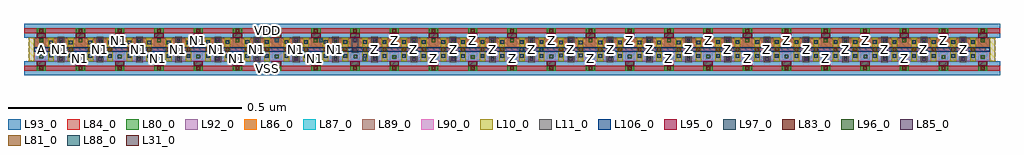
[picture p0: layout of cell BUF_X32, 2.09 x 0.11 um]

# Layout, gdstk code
import gdstk
lib = gdstk.Library(unit=1e-6, precision=1e-09)
def R(c, l, rs):  # rectangles x0, y0, x1, y1
    for r in rs: c.add(gdstk.rectangle(r[:2], r[2:], *l))
def A(c, l, x, y, w, h, nx, ny, dx, dy):  # array of equal rectangles
    R(c, l, [(x+i*dx, y+j*dy, x+i*dx+w, y+j*dy+h) for i in range(nx) for j in range(ny)])
L10_0 = (10, 0)
L11_0 = (11, 0)
L31_0 = (31, 0)
L80_0 = (80, 0)
L81_0 = (81, 0)
L83_0 = (83, 0)
L84_0 = (84, 0)
L85_0 = (85, 0)
L86_0 = (86, 0)
L87_0 = (87, 0)
L88_0 = (88, 0)
L89_0 = (89, 0)
L90_0 = (90, 0)
L92_0 = (92, 0)
L93_0 = (93, 0)
L95_0 = (95, 0)
L96_0 = (96, 0)
L97_0 = (97, 0)
L106_0 = (106, 0)

buf_x32 = lib.new_cell('BUF_X32')
A(buf_x32, L10_0, 0.208, -0.025, 0.012, 0.05, 50, 1, 0.042, 0)
A(buf_x32, L11_0, 0.27, -0.027, 0.014, 0.034, 24, 1, 0.084, 0)
A(buf_x32, L11_0, 0.27, -0.007, 0.014, 0.034, 8, 1, 0.084, 0)
A(buf_x32, L11_0, 0.942, -0.007, 0.014, 0.034, 16, 1, 0.084, 0)
R(buf_x32, L11_0, [(0.229,-0.007,0.243,0.007), (0.9,-0.007,0.914,0.027)])
A(buf_x32, L31_0, 0.273, -0.004, 0.008, 0.008, 24, 1, 0.084, 0)
R(buf_x32, L31_0, [(0.232,-0.004,0.24,0.004)])
A(buf_x32, L80_0, 0.225, -0.045, 0.02, 0.021, 25, 1, 0.084, 0)
A(buf_x32, L80_0, 0.225, -0.025, 0.02, 0.02, 49, 1, 0.042, 0)
A(buf_x32, L80_0, 0.225, 0.016, 0.02, 0.029, 25, 1, 0.084, 0)
R(buf_x32, L80_0, [(0.225,0.005,0.245,0.025), (0.225,0.005,0.245,0.025), (0.267,0.005,0.287,0.025), (0.267,0.005,0.287,0.025), (0.309,0.005,0.329,0.025), (0.309,0.005,0.329,0.025), (0.351,0.005,0.371,0.025), (0.351,0.005,0.371,0.025), (0.393,0.005,0.413,0.025), (0.393,0.005,0.413,0.025), (0.435,0.005,0.455,0.025), (0.435,0.005,0.455,0.025), (0.477,0.005,0.497,0.025), (0.477,0.005,0.497,0.025), (0.519,0.005,0.539,0.025), (0.519,0.005,0.539,0.025), (0.561,0.005,0.581,0.025), (0.561,0.005,0.581,0.025), (0.603,0.005,0.623,0.025), (0.603,0.005,0.623,0.025), (0.645,0.005,0.665,0.025), (0.645,0.005,0.665,0.025), (0.687,0.005,0.707,0.025), (0.687,0.005,0.707,0.025), (0.729,0.005,0.749,0.025), (0.729,0.005,0.749,0.025), (0.771,0.005,0.791,0.025), (0.771,0.005,0.791,0.025), (0.813,0.005,0.833,0.025), (0.813,0.005,0.833,0.025), (0.855,0.005,0.875,0.025), (0.855,0.005,0.875,0.025), (0.897,0.005,0.917,0.025), (0.897,0.005,0.917,0.025), (0.897,0.005,0.917,0.025), (0.897,0.005,0.917,0.025), (0.939,0.005,0.959,0.025), (0.939,0.005,0.959,0.025), (0.981,0.005,1.001,0.025), (0.981,0.005,1.001,0.025), (1.023,0.005,1.043,0.025), (1.023,0.005,1.043,0.025), (1.065,0.005,1.085,0.025), (1.065,0.005,1.085,0.025), (1.107,0.005,1.127,0.025), (1.107,0.005,1.127,0.025), (1.149,0.005,1.169,0.025), (1.149,0.005,1.169,0.025), (1.191,0.005,1.211,0.025), (1.191,0.005,1.211,0.025), (1.233,0.005,1.253,0.025), (1.233,0.005,1.253,0.025), (1.275,0.005,1.295,0.025), (1.275,0.005,1.295,0.025), (1.317,0.005,1.337,0.025), (1.317,0.005,1.337,0.025), (1.359,0.005,1.379,0.025), (1.359,0.005,1.379,0.025), (1.401,0.005,1.421,0.025), (1.401,0.005,1.421,0.025), (1.443,0.005,1.463,0.025), (1.443,0.005,1.463,0.025), (1.485,0.005,1.505,0.025), (1.485,0.005,1.505,0.025), (1.527,0.005,1.547,0.025), (1.527,0.005,1.547,0.025), (1.569,0.005,1.589,0.025), (1.569,0.005,1.589,0.025), (1.611,0.005,1.631,0.025), (1.611,0.005,1.631,0.025), (1.653,0.005,1.673,0.025), (1.653,0.005,1.673,0.025), (1.695,0.005,1.715,0.025), (1.695,0.005,1.715,0.025), (1.737,0.005,1.757,0.025), (1.737,0.005,1.757,0.025), (1.779,0.005,1.799,0.025), (1.779,0.005,1.799,0.025), (1.821,0.005,1.841,0.025), (1.821,0.005,1.841,0.025), (1.863,0.005,1.883,0.025), (1.863,0.005,1.883,0.025), (1.905,0.005,1.925,0.025), (1.905,0.005,1.925,0.025), (1.947,0.005,1.967,0.025), (1.947,0.005,1.967,0.025), (1.989,0.005,2.009,0.025), (1.989,0.005,2.009,0.025), (2.031,0.005,2.051,0.025), (2.031,0.005,2.051,0.025), (2.073,0.005,2.093,0.025), (2.073,0.005,2.093,0.025), (2.115,0.005,2.135,0.025), (2.115,0.005,2.135,0.025), (2.157,0.005,2.177,0.025), (2.157,0.005,2.177,0.025), (2.199,0.005,2.219,0.025), (2.199,0.005,2.219,0.025), (2.241,0.005,2.261,0.025), (2.241,0.005,2.261,0.025)])
A(buf_x32, L81_0, 0.252, -0.004, 0.008, 0.008, 24, 1, 0.042, 0)
A(buf_x32, L81_0, 1.344, -0.004, 0.008, 0.008, 22, 1, 0.042, 0)
R(buf_x32, L81_0, [(0.252,-0.004,0.26,0.004), (1.344,-0.004,1.352,0.004)])
A(buf_x32, L83_0, 0.231, -0.044, 0.008, 0.008, 25, 2, 0.084, 0.08)
A(buf_x32, L83_0, 0.273, -0.024, 0.008, 0.008, 24, 1, 0.084, 0)
R(buf_x32, L83_0, [(0.273,0.016,0.281,0.024), (0.273,0.016,0.281,0.024), (0.357,0.016,0.365,0.024), (0.357,0.016,0.365,0.024), (0.441,0.016,0.449,0.024), (0.441,0.016,0.449,0.024), (0.525,0.016,0.533,0.024), (0.525,0.016,0.533,0.024), (0.609,0.016,0.617,0.024), (0.609,0.016,0.617,0.024), (0.693,0.016,0.701,0.024), (0.693,0.016,0.701,0.024), (0.777,0.016,0.785,0.024), (0.777,0.016,0.785,0.024), (0.861,0.016,0.869,0.024), (0.861,0.016,0.869,0.024), (0.945,0.016,0.953,0.024), (0.945,0.016,0.953,0.024), (1.029,0.016,1.037,0.024), (1.029,0.016,1.037,0.024), (1.113,0.016,1.121,0.024), (1.113,0.016,1.121,0.024), (1.197,0.016,1.205,0.024), (1.197,0.016,1.205,0.024), (1.281,0.016,1.289,0.024), (1.281,0.016,1.289,0.024), (1.365,0.016,1.373,0.024), (1.365,0.016,1.373,0.024), (1.449,0.016,1.457,0.024), (1.449,0.016,1.457,0.024), (1.533,0.016,1.541,0.024), (1.533,0.016,1.541,0.024), (1.617,0.016,1.625,0.024), (1.617,0.016,1.625,0.024), (1.701,0.016,1.709,0.024), (1.701,0.016,1.709,0.024), (1.785,0.016,1.793,0.024), (1.785,0.016,1.793,0.024), (1.869,0.016,1.877,0.024), (1.869,0.016,1.877,0.024), (1.953,0.016,1.961,0.024), (1.953,0.016,1.961,0.024), (2.037,0.016,2.045,0.024), (2.037,0.016,2.045,0.024), (2.121,0.016,2.129,0.024), (2.121,0.016,2.129,0.024), (2.205,0.016,2.213,0.024), (2.205,0.016,2.213,0.024)])
A(buf_x32, L84_0, 0.271, -0.025, 0.031, 0.01, 4, 1, 0.021, 0)
A(buf_x32, L84_0, 0.44, -0.025, 0.031, 0.01, 4, 1, 0.021, 0)
A(buf_x32, L84_0, 0.608, -0.025, 0.031, 0.01, 4, 1, 0.021, 0)
A(buf_x32, L84_0, 0.776, -0.025, 0.031, 0.01, 4, 1, 0.021, 0)
A(buf_x32, L84_0, 1.028, -0.025, 0.031, 0.01, 4, 1, 0.021, 0)
A(buf_x32, L84_0, 1.196, -0.025, 0.031, 0.01, 4, 1, 0.021, 0)
A(buf_x32, L84_0, 1.196, -0.025, 0.01, 0.01, 4, 1, 0.084, 0)
A(buf_x32, L84_0, 1.364, -0.025, 0.031, 0.01, 4, 1, 0.021, 0)
A(buf_x32, L84_0, 1.7, -0.025, 0.031, 0.01, 4, 1, 0.021, 0)
A(buf_x32, L84_0, 1.868, -0.025, 0.031, 0.01, 4, 1, 0.021, 0)
A(buf_x32, L84_0, 2.036, -0.025, 0.031, 0.01, 4, 1, 0.021, 0)
A(buf_x32, L84_0, 0.251, -0.005, 0.031, 0.01, 30, 1, 0.021, 0)
A(buf_x32, L84_0, 0.902, -0.005, 0.031, 0.01, 20, 1, 0.021, 0)
A(buf_x32, L84_0, 1.343, -0.005, 0.031, 0.01, 43, 1, 0.021, 0)
A(buf_x32, L84_0, 0.356, 0.015, 0.031, 0.01, 4, 1, 0.021, 0)
A(buf_x32, L84_0, 0.524, 0.015, 0.031, 0.01, 4, 1, 0.021, 0)
A(buf_x32, L84_0, 0.692, 0.015, 0.031, 0.01, 4, 1, 0.021, 0)
A(buf_x32, L84_0, 0.944, 0.015, 0.031, 0.01, 4, 1, 0.021, 0)
A(buf_x32, L84_0, 1.112, 0.015, 0.031, 0.01, 4, 1, 0.021, 0)
A(buf_x32, L84_0, 1.28, 0.015, 0.031, 0.01, 4, 1, 0.021, 0)
A(buf_x32, L84_0, 1.448, 0.015, 0.031, 0.01, 4, 1, 0.021, 0)
A(buf_x32, L84_0, 1.616, 0.015, 0.031, 0.01, 4, 1, 0.021, 0)
A(buf_x32, L84_0, 1.784, 0.015, 0.031, 0.01, 4, 1, 0.021, 0)
A(buf_x32, L84_0, 1.952, 0.015, 0.031, 0.01, 4, 1, 0.021, 0)
A(buf_x32, L84_0, 2.12, 0.015, 0.031, 0.01, 4, 1, 0.021, 0)
R(buf_x32, L84_0, [(0.198,-0.045,2.288,-0.035), (0.272,-0.025,0.282,-0.015), (0.356,-0.025,0.366,-0.015), (0.608,-0.025,0.618,-0.015), (0.944,-0.025,0.954,-0.015), (1.532,-0.025,1.563,-0.015), (1.532,-0.025,1.563,-0.015), (1.553,-0.025,1.584,-0.015), (1.553,-0.025,1.584,-0.015), (1.574,-0.025,1.605,-0.015), (1.574,-0.025,1.605,-0.015), (1.595,-0.025,1.626,-0.015), (1.595,-0.025,1.626,-0.015), (1.7,-0.025,1.71,-0.015), (2.204,-0.025,2.214,-0.015), (0.227,-0.005,0.263,0.005), (1.319,-0.005,1.355,0.005), (0.272,0.015,0.282,0.025), (0.86,0.015,0.891,0.025), (0.881,0.015,0.912,0.025), (1.364,0.015,1.374,0.025), (0.198,0.035,2.288,0.045)])
A(buf_x32, L85_0, 0.273, -0.024, 0.008, 0.008, 24, 1, 0.084, 0)
A(buf_x32, L85_0, 0.273, 0.016, 0.008, 0.008, 8, 1, 0.084, 0)
A(buf_x32, L85_0, 0.945, 0.016, 0.008, 0.008, 16, 1, 0.084, 0)
R(buf_x32, L85_0, [(0.232,-0.004,0.24,0.004), (0.903,-0.004,0.911,0.004), (0.903,0.016,0.911,0.024)])
R(buf_x32, L86_0, [(0.22,0.003,2.266,0.025)])
R(buf_x32, L87_0, [(0.22,-0.025,2.266,-0.003)])
A(buf_x32, L88_0, 1.071, -0.024, 0.008, 0.008, 3, 1, 0.168, 0)
A(buf_x32, L88_0, 1.743, -0.024, 0.008, 0.008, 3, 1, 0.168, 0)
A(buf_x32, L88_0, 0.399, 0.016, 0.008, 0.008, 3, 1, 0.168, 0)
A(buf_x32, L88_0, 0.987, 0.016, 0.008, 0.008, 8, 1, 0.168, 0)
R(buf_x32, L88_0, [(0.716,-0.044,0.724,-0.036), (0.315,-0.024,0.323,-0.016), (0.651,-0.024,0.659,-0.016), (0.819,-0.024,0.827,-0.016), (0.923,-0.024,0.931,-0.016), (0.483,-0.023,0.491,-0.015), (1.575,-0.023,1.583,-0.015), (0.83,0.016,0.838,0.024), (0.716,0.036,0.724,0.044)])
R(buf_x32, L89_0, [(0.22,0.003,2.266,0.025)])
R(buf_x32, L90_0, [(0.22,-0.025,2.266,-0.003)])
R(buf_x32, L92_0, [(0.221,-0.023,2.265,-0.005), (0.221,0.005,2.265,0.023)])
R(buf_x32, L93_0, [(0.198,-0.055,2.288,-0.025), (0.198,0.025,2.288,0.055)])
A(buf_x32, L95_0, 0.225, -0.035, 0.02, 0.01, 25, 2, 0.084, 0.06)
A(buf_x32, L96_0, 0.987, -0.02, 0.008, 0.008, 4, 1, 0.084, 0)
A(buf_x32, L96_0, 2.079, -0.02, 0.008, 0.008, 3, 1, 0.084, 0)
A(buf_x32, L96_0, 0.231, -0.019, 0.008, 0.008, 3, 1, 0.084, 0)
A(buf_x32, L96_0, 0.441, -0.019, 0.008, 0.008, 4, 1, 0.042, 0)
A(buf_x32, L96_0, 0.735, -0.019, 0.008, 0.008, 4, 1, 0.042, 0)
A(buf_x32, L96_0, 0.945, -0.019, 0.008, 0.008, 5, 1, 0.084, 0)
A(buf_x32, L96_0, 1.323, -0.019, 0.008, 0.008, 3, 1, 0.084, 0)
A(buf_x32, L96_0, 1.533, -0.019, 0.008, 0.008, 4, 1, 0.042, 0)
A(buf_x32, L96_0, 1.827, -0.019, 0.008, 0.008, 4, 1, 0.042, 0)
A(buf_x32, L96_0, 2.037, -0.019, 0.008, 0.008, 3, 1, 0.084, 0)
A(buf_x32, L96_0, 0.609, 0.012, 0.008, 0.008, 10, 1, 0.084, 0)
A(buf_x32, L96_0, 1.701, 0.012, 0.008, 0.008, 7, 1, 0.084, 0)
A(buf_x32, L96_0, 0.231, 0.016, 0.008, 0.008, 4, 1, 0.084, 0)
A(buf_x32, L96_0, 0.651, 0.016, 0.008, 0.008, 20, 1, 0.084, 0)
R(buf_x32, L96_0, [(0.651,-0.019,0.659,-0.011), (0.904,-0.019,0.912,-0.011), (1.743,-0.019,1.751,-0.011), (1.996,-0.019,2.004,-0.011), (0.273,-0.018,0.281,-0.01), (0.358,-0.018,0.366,-0.01), (0.609,-0.018,0.617,-0.01), (0.693,-0.018,0.701,-0.01), (1.365,-0.018,1.373,-0.01), (1.45,-0.018,1.458,-0.01), (1.701,-0.018,1.709,-0.01), (1.785,-0.018,1.793,-0.01), (0.273,0.012,0.281,0.02), (0.358,0.012,0.366,0.02), (0.441,0.012,0.449,0.02), (1.45,0.012,1.458,0.02), (1.533,0.012,1.541,0.02), (0.525,0.013,0.533,0.021), (1.617,0.013,1.625,0.021)])
A(buf_x32, L97_0, 0.336, -0.018, 0.008, 0.008, 24, 1, 0.042, 0)
A(buf_x32, L97_0, 1.428, -0.018, 0.008, 0.008, 20, 1, 0.042, 0)
A(buf_x32, L97_0, 0.252, -0.004, 0.008, 0.008, 48, 1, 0.042, 0)
A(buf_x32, L97_0, 0.252, 0.011, 0.008, 0.008, 8, 1, 0.042, 0)
A(buf_x32, L97_0, 1.344, 0.011, 0.008, 0.008, 8, 1, 0.042, 0)
A(buf_x32, L97_0, 0.588, 0.012, 0.008, 0.008, 18, 1, 0.042, 0)
A(buf_x32, L97_0, 1.68, 0.012, 0.008, 0.008, 14, 1, 0.042, 0)
R(buf_x32, L97_0, [(0.252,-0.017,0.26,-0.009), (0.294,-0.017,0.302,-0.009), (1.344,-0.017,1.352,-0.009), (1.386,-0.017,1.394,-0.009)])
R(buf_x32, L106_0, [(0.22,-0.005,2.266,0.005)])
buf_x32.add(gdstk.Label('Z', (1.285,0), layer=31, texttype=0))
buf_x32.add(gdstk.Label('Z', (1.369,0), layer=31, texttype=0))
buf_x32.add(gdstk.Label('Z', (1.453,0), layer=31, texttype=0))
buf_x32.add(gdstk.Label('Z', (1.537,0), layer=31, texttype=0))
buf_x32.add(gdstk.Label('Z', (1.621,0), layer=31, texttype=0))
buf_x32.add(gdstk.Label('Z', (1.705,0), layer=31, texttype=0))
buf_x32.add(gdstk.Label('Z', (1.789,0), layer=31, texttype=0))
buf_x32.add(gdstk.Label('Z', (1.873,0), layer=31, texttype=0))
buf_x32.add(gdstk.Label('Z', (1.957,0), layer=31, texttype=0))
buf_x32.add(gdstk.Label('Z', (2.041,0), layer=31, texttype=0))
buf_x32.add(gdstk.Label('Z', (2.125,0), layer=31, texttype=0))
buf_x32.add(gdstk.Label('Z', (2.209,0), layer=31, texttype=0))
buf_x32.add(gdstk.Label('Z', (1.201,0), layer=31, texttype=0))
buf_x32.add(gdstk.Label('Z', (1.117,0), layer=31, texttype=0))
buf_x32.add(gdstk.Label('Z', (1.033,0), layer=31, texttype=0))
buf_x32.add(gdstk.Label('Z', (0.949,0), layer=31, texttype=0))
buf_x32.add(gdstk.Label('N1', (0.865,0), layer=31, texttype=0))
buf_x32.add(gdstk.Label('A', (0.236,0), layer=31, texttype=0))
buf_x32.add(gdstk.Label('N1', (0.277,0), layer=31, texttype=0))
buf_x32.add(gdstk.Label('N1', (0.361,0), layer=31, texttype=0))
buf_x32.add(gdstk.Label('N1', (0.445,0), layer=31, texttype=0))
buf_x32.add(gdstk.Label('N1', (0.529,0), layer=31, texttype=0))
buf_x32.add(gdstk.Label('N1', (0.613,0), layer=31, texttype=0))
buf_x32.add(gdstk.Label('N1', (0.697,0), layer=31, texttype=0))
buf_x32.add(gdstk.Label('N1', (0.781,0), layer=31, texttype=0))
buf_x32.add(gdstk.Label('Z', (1.663,0.02), layer=88, texttype=0))
buf_x32.add(gdstk.Label('N1', (0.571,0.02), layer=88, texttype=0))
buf_x32.add(gdstk.Label('N1', (0.319,-0.02), layer=88, texttype=0))
buf_x32.add(gdstk.Label('Z', (1.327,0.02), layer=88, texttype=0))
buf_x32.add(gdstk.Label('Z', (1.075,-0.02), layer=88, texttype=0))
buf_x32.add(gdstk.Label('Z', (1.495,0.02), layer=88, texttype=0))
buf_x32.add(gdstk.Label('Z', (1.579,-0.019), layer=88, texttype=0))
buf_x32.add(gdstk.Label('Z', (1.915,-0.02), layer=88, texttype=0))
buf_x32.add(gdstk.Label('Z', (2.167,0.02), layer=88, texttype=0))
buf_x32.add(gdstk.Label('Z', (2.083,-0.02), layer=88, texttype=0))
buf_x32.add(gdstk.Label('Z', (1.999,0.02), layer=88, texttype=0))
buf_x32.add(gdstk.Label('Z', (1.747,-0.02), layer=88, texttype=0))
buf_x32.add(gdstk.Label('Z', (1.831,0.02), layer=88, texttype=0))
buf_x32.add(gdstk.Label('Z', (1.243,-0.02), layer=88, texttype=0))
buf_x32.add(gdstk.Label('Z', (1.159,0.02), layer=88, texttype=0))
buf_x32.add(gdstk.Label('N1', (0.655,-0.02), layer=88, texttype=0))
buf_x32.add(gdstk.Label('N1', (0.927,-0.02), layer=88, texttype=0))
buf_x32.add(gdstk.Label('Z', (0.991,0.02), layer=88, texttype=0))
buf_x32.add(gdstk.Label('N1', (0.834,0.02), layer=88, texttype=0))
buf_x32.add(gdstk.Label('N1', (0.487,-0.019), layer=88, texttype=0))
buf_x32.add(gdstk.Label('N1', (0.403,0.02), layer=88, texttype=0))
buf_x32.add(gdstk.Label('VSS', (0.72,-0.04), layer=88, texttype=0))
buf_x32.add(gdstk.Label('VDD', (0.72,0.04), layer=88, texttype=0))
buf_x32.add(gdstk.Label('Z', (1.411,-0.02), layer=88, texttype=0))
buf_x32.add(gdstk.Label('N1', (0.739,0.02), layer=88, texttype=0))
buf_x32.add(gdstk.Label('N1', (0.823,-0.02), layer=88, texttype=0))
buf_x32.add(gdstk.Label('Z_10', (1.285,-0.015), layer=96, texttype=0))
buf_x32.add(gdstk.Label('Z_9', (1.285,0.016), layer=96, texttype=0))
buf_x32.add(gdstk.Label('NU_14', (1.327,0.02), layer=96, texttype=0))
buf_x32.add(gdstk.Label('NU_15', (1.411,0.02), layer=96, texttype=0))
buf_x32.add(gdstk.Label('NU_16', (1.495,0.02), layer=96, texttype=0))
buf_x32.add(gdstk.Label('NU_17', (1.579,0.02), layer=96, texttype=0))
buf_x32.add(gdstk.Label('NU_18', (1.663,0.02), layer=96, texttype=0))
buf_x32.add(gdstk.Label('NU_20', (1.831,0.02), layer=96, texttype=0))
buf_x32.add(gdstk.Label('NU_21', (1.915,0.02), layer=96, texttype=0))
buf_x32.add(gdstk.Label('NU_22', (1.999,0.02), layer=96, texttype=0))
buf_x32.add(gdstk.Label('NU_23', (2.083,0.02), layer=96, texttype=0))
buf_x32.add(gdstk.Label('NU_24', (2.167,0.02), layer=96, texttype=0))
buf_x32.add(gdstk.Label('NU_25', (2.251,0.02), layer=96, texttype=0))
buf_x32.add(gdstk.Label('ND_25', (2.251,-0.016), layer=96, texttype=0))
buf_x32.add(gdstk.Label('ND_24', (2.167,-0.016), layer=96, texttype=0))
buf_x32.add(gdstk.Label('ND_23', (2.083,-0.016), layer=96, texttype=0))
buf_x32.add(gdstk.Label('ND_14', (1.327,-0.015), layer=96, texttype=0))
buf_x32.add(gdstk.Label('ND_15', (1.411,-0.015), layer=96, texttype=0))
buf_x32.add(gdstk.Label('ND_16', (1.495,-0.015), layer=96, texttype=0))
buf_x32.add(gdstk.Label('ND_17', (1.579,-0.015), layer=96, texttype=0))
buf_x32.add(gdstk.Label('ND_18', (1.663,-0.015), layer=96, texttype=0))
buf_x32.add(gdstk.Label('ND_19', (1.747,-0.015), layer=96, texttype=0))
buf_x32.add(gdstk.Label('ND_20', (1.831,-0.015), layer=96, texttype=0))
buf_x32.add(gdstk.Label('ND_21', (1.915,-0.015), layer=96, texttype=0))
buf_x32.add(gdstk.Label('ND_22', (2,-0.015), layer=96, texttype=0))
buf_x32.add(gdstk.Label('Z_11', (1.369,0.016), layer=96, texttype=0))
buf_x32.add(gdstk.Label('Z_12', (1.369,-0.014), layer=96, texttype=0))
buf_x32.add(gdstk.Label('Z_14', (1.454,-0.014), layer=96, texttype=0))
buf_x32.add(gdstk.Label('Z_13', (1.454,0.016), layer=96, texttype=0))
buf_x32.add(gdstk.Label('Z_15', (1.537,0.016), layer=96, texttype=0))
buf_x32.add(gdstk.Label('Z_16', (1.537,-0.015), layer=96, texttype=0))
buf_x32.add(gdstk.Label('Z_18', (1.621,-0.015), layer=96, texttype=0))
buf_x32.add(gdstk.Label('Z_17', (1.621,0.017), layer=96, texttype=0))
buf_x32.add(gdstk.Label('Z_19', (1.705,0.016), layer=96, texttype=0))
buf_x32.add(gdstk.Label('Z_20', (1.705,-0.014), layer=96, texttype=0))
buf_x32.add(gdstk.Label('Z_22', (1.789,-0.014), layer=96, texttype=0))
buf_x32.add(gdstk.Label('Z_21', (1.789,0.016), layer=96, texttype=0))
buf_x32.add(gdstk.Label('Z_23', (1.873,0.016), layer=96, texttype=0))
buf_x32.add(gdstk.Label('Z_25', (1.957,0.016), layer=96, texttype=0))
buf_x32.add(gdstk.Label('Z_27', (2.041,0.016), layer=96, texttype=0))
buf_x32.add(gdstk.Label('Z_29', (2.125,0.016), layer=96, texttype=0))
buf_x32.add(gdstk.Label('Z_31', (2.209,0.016), layer=96, texttype=0))
buf_x32.add(gdstk.Label('Z_32', (2.209,-0.015), layer=96, texttype=0))
buf_x32.add(gdstk.Label('Z_30', (2.125,-0.015), layer=96, texttype=0))
buf_x32.add(gdstk.Label('Z_28', (2.041,-0.015), layer=96, texttype=0))
buf_x32.add(gdstk.Label('Z_26', (1.957,-0.015), layer=96, texttype=0))
buf_x32.add(gdstk.Label('Z_24', (1.873,-0.015), layer=96, texttype=0))
buf_x32.add(gdstk.Label('NU_19', (1.747,0.02), layer=96, texttype=0))
buf_x32.add(gdstk.Label('NU_6', (0.655,0.02), layer=96, texttype=0))
buf_x32.add(gdstk.Label('ND_2', (0.319,-0.015), layer=96, texttype=0))
buf_x32.add(gdstk.Label('ND_1', (0.235,-0.015), layer=96, texttype=0))
buf_x32.add(gdstk.Label('ND_10', (0.991,-0.016), layer=96, texttype=0))
buf_x32.add(gdstk.Label('ND_11', (1.075,-0.016), layer=96, texttype=0))
buf_x32.add(gdstk.Label('ND_12', (1.159,-0.016), layer=96, texttype=0))
buf_x32.add(gdstk.Label('ND_13', (1.243,-0.016), layer=96, texttype=0))
buf_x32.add(gdstk.Label('NU_13', (1.243,0.02), layer=96, texttype=0))
buf_x32.add(gdstk.Label('NU_12', (1.159,0.02), layer=96, texttype=0))
buf_x32.add(gdstk.Label('NU_11', (1.075,0.02), layer=96, texttype=0))
buf_x32.add(gdstk.Label('NU_10', (0.991,0.02), layer=96, texttype=0))
buf_x32.add(gdstk.Label('Z_5', (1.117,0.016), layer=96, texttype=0))
buf_x32.add(gdstk.Label('Z_3', (1.033,0.016), layer=96, texttype=0))
buf_x32.add(gdstk.Label('Z_1', (0.949,0.016), layer=96, texttype=0))
buf_x32.add(gdstk.Label('N1_15', (0.865,0.016), layer=96, texttype=0))
buf_x32.add(gdstk.Label('N1_13', (0.781,0.016), layer=96, texttype=0))
buf_x32.add(gdstk.Label('N1_10', (0.613,-0.014), layer=96, texttype=0))
buf_x32.add(gdstk.Label('N1_9', (0.613,0.016), layer=96, texttype=0))
buf_x32.add(gdstk.Label('N1_7', (0.529,0.017), layer=96, texttype=0))
buf_x32.add(gdstk.Label('N1_5', (0.445,0.016), layer=96, texttype=0))
buf_x32.add(gdstk.Label('N1_4', (0.362,-0.014), layer=96, texttype=0))
buf_x32.add(gdstk.Label('N1_1', (0.277,0.016), layer=96, texttype=0))
buf_x32.add(gdstk.Label('ND_8', (0.823,-0.015), layer=96, texttype=0))
buf_x32.add(gdstk.Label('ND_7', (0.739,-0.015), layer=96, texttype=0))
buf_x32.add(gdstk.Label('ND_6', (0.655,-0.015), layer=96, texttype=0))
buf_x32.add(gdstk.Label('ND_9', (0.908,-0.015), layer=96, texttype=0))
buf_x32.add(gdstk.Label('N1_2', (0.277,-0.014), layer=96, texttype=0))
buf_x32.add(gdstk.Label('N1_14', (0.781,-0.015), layer=96, texttype=0))
buf_x32.add(gdstk.Label('NU_9', (0.907,0.02), layer=96, texttype=0))
buf_x32.add(gdstk.Label('NU_8', (0.823,0.02), layer=96, texttype=0))
buf_x32.add(gdstk.Label('NU_7', (0.739,0.02), layer=96, texttype=0))
buf_x32.add(gdstk.Label('NU_5', (0.571,0.02), layer=96, texttype=0))
buf_x32.add(gdstk.Label('NU_4', (0.487,0.02), layer=96, texttype=0))
buf_x32.add(gdstk.Label('NU_3', (0.403,0.02), layer=96, texttype=0))
buf_x32.add(gdstk.Label('NU_2', (0.319,0.02), layer=96, texttype=0))
buf_x32.add(gdstk.Label('NU_1', (0.235,0.02), layer=96, texttype=0))
buf_x32.add(gdstk.Label('N1_16', (0.865,-0.015), layer=96, texttype=0))
buf_x32.add(gdstk.Label('Z_2', (0.949,-0.015), layer=96, texttype=0))
buf_x32.add(gdstk.Label('Z_4', (1.033,-0.015), layer=96, texttype=0))
buf_x32.add(gdstk.Label('Z_6', (1.117,-0.015), layer=96, texttype=0))
buf_x32.add(gdstk.Label('Z_8', (1.201,-0.015), layer=96, texttype=0))
buf_x32.add(gdstk.Label('Z_7', (1.201,0.016), layer=96, texttype=0))
buf_x32.add(gdstk.Label('N1_11', (0.697,0.016), layer=96, texttype=0))
buf_x32.add(gdstk.Label('N1_12', (0.697,-0.014), layer=96, texttype=0))
buf_x32.add(gdstk.Label('N1_8', (0.529,-0.015), layer=96, texttype=0))
buf_x32.add(gdstk.Label('N1_6', (0.445,-0.015), layer=96, texttype=0))
buf_x32.add(gdstk.Label('N1_3', (0.362,0.016), layer=96, texttype=0))
buf_x32.add(gdstk.Label('ND_3', (0.403,-0.015), layer=96, texttype=0))
buf_x32.add(gdstk.Label('ND_4', (0.487,-0.015), layer=96, texttype=0))
buf_x32.add(gdstk.Label('ND_5', (0.571,-0.015), layer=96, texttype=0))
buf_x32.add(gdstk.Label('N1_42', (1.306,0), layer=97, texttype=0))
buf_x32.add(gdstk.Label('N1_41', (1.306,0.016), layer=97, texttype=0))
buf_x32.add(gdstk.Label('N1_43', (1.306,-0.014), layer=97, texttype=0))
buf_x32.add(gdstk.Label('N1_40', (1.264,-0.014), layer=97, texttype=0))
buf_x32.add(gdstk.Label('N1_38', (1.264,0.016), layer=97, texttype=0))
buf_x32.add(gdstk.Label('N1_39', (1.264,0), layer=97, texttype=0))
buf_x32.add(gdstk.Label('N1_36', (1.18,0), layer=97, texttype=0))
buf_x32.add(gdstk.Label('N1_33', (1.138,0), layer=97, texttype=0))
buf_x32.add(gdstk.Label('N1_27', (1.054,0), layer=97, texttype=0))
buf_x32.add(gdstk.Label('A_18', (0.466,-0.014), layer=97, texttype=0))
buf_x32.add(gdstk.Label('A_15', (0.424,-0.014), layer=97, texttype=0))
buf_x32.add(gdstk.Label('A_12', (0.382,-0.014), layer=97, texttype=0))
buf_x32.add(gdstk.Label('A_9', (0.34,-0.014), layer=97, texttype=0))
buf_x32.add(gdstk.Label('A_8', (0.34,0), layer=97, texttype=0))
buf_x32.add(gdstk.Label('A_11', (0.382,0), layer=97, texttype=0))
buf_x32.add(gdstk.Label('A_10', (0.382,0.015), layer=97, texttype=0))
buf_x32.add(gdstk.Label('A_46', (0.886,0.016), layer=97, texttype=0))
buf_x32.add(gdstk.Label('A_47', (0.886,0), layer=97, texttype=0))
buf_x32.add(gdstk.Label('A_39', (0.76,-0.014), layer=97, texttype=0))
buf_x32.add(gdstk.Label('N1_20', (0.97,0.016), layer=97, texttype=0))
buf_x32.add(gdstk.Label('A_44', (0.844,0), layer=97, texttype=0))
buf_x32.add(gdstk.Label('A_42', (0.802,-0.014), layer=97, texttype=0))
buf_x32.add(gdstk.Label('A_41', (0.802,0), layer=97, texttype=0))
buf_x32.add(gdstk.Label('A_38', (0.76,0), layer=97, texttype=0))
buf_x32.add(gdstk.Label('A_35', (0.718,0), layer=97, texttype=0))
buf_x32.add(gdstk.Label('N1_23', (1.012,0.016), layer=97, texttype=0))
buf_x32.add(gdstk.Label('A_14', (0.424,0), layer=97, texttype=0))
buf_x32.add(gdstk.Label('A_17', (0.466,0), layer=97, texttype=0))
buf_x32.add(gdstk.Label('A_45', (0.844,-0.014), layer=97, texttype=0))
buf_x32.add(gdstk.Label('A_48', (0.886,-0.014), layer=97, texttype=0))
buf_x32.add(gdstk.Label('A_7', (0.34,0.015), layer=97, texttype=0))
buf_x32.add(gdstk.Label('A_4', (0.298,0.015), layer=97, texttype=0))
buf_x32.add(gdstk.Label('A_5', (0.298,0), layer=97, texttype=0))
buf_x32.add(gdstk.Label('A_6', (0.298,-0.013), layer=97, texttype=0))
buf_x32.add(gdstk.Label('A_3', (0.256,-0.013), layer=97, texttype=0))
buf_x32.add(gdstk.Label('A_2', (0.256,0), layer=97, texttype=0))
buf_x32.add(gdstk.Label('A_1', (0.256,0.015), layer=97, texttype=0))
buf_x32.add(gdstk.Label('A_19', (0.508,0.015), layer=97, texttype=0))
buf_x32.add(gdstk.Label('A_21', (0.508,-0.014), layer=97, texttype=0))
buf_x32.add(gdstk.Label('A_32', (0.676,0), layer=97, texttype=0))
buf_x32.add(gdstk.Label('A_24', (0.55,-0.014), layer=97, texttype=0))
buf_x32.add(gdstk.Label('A_25', (0.592,0.016), layer=97, texttype=0))
buf_x32.add(gdstk.Label('A_29', (0.634,0), layer=97, texttype=0))
buf_x32.add(gdstk.Label('A_28', (0.634,0.016), layer=97, texttype=0))
buf_x32.add(gdstk.Label('A_31', (0.676,0.016), layer=97, texttype=0))
buf_x32.add(gdstk.Label('A_34', (0.718,0.016), layer=97, texttype=0))
buf_x32.add(gdstk.Label('A_37', (0.76,0.016), layer=97, texttype=0))
buf_x32.add(gdstk.Label('A_26', (0.592,0), layer=97, texttype=0))
buf_x32.add(gdstk.Label('A_13', (0.424,0.015), layer=97, texttype=0))
buf_x32.add(gdstk.Label('N1_26', (1.054,0.016), layer=97, texttype=0))
buf_x32.add(gdstk.Label('N1_29', (1.096,0.016), layer=97, texttype=0))
buf_x32.add(gdstk.Label('N1_40', (1.222,-0.014), layer=97, texttype=0))
buf_x32.add(gdstk.Label('N1_32', (1.138,0.016), layer=97, texttype=0))
buf_x32.add(gdstk.Label('N1_37', (1.18,-0.014), layer=97, texttype=0))
buf_x32.add(gdstk.Label('N1_34', (1.138,-0.014), layer=97, texttype=0))
buf_x32.add(gdstk.Label('N1_31', (1.096,-0.014), layer=97, texttype=0))
buf_x32.add(gdstk.Label('N1_28', (1.054,-0.014), layer=97, texttype=0))
buf_x32.add(gdstk.Label('N1_25', (1.012,-0.014), layer=97, texttype=0))
buf_x32.add(gdstk.Label('N1_22', (0.97,-0.014), layer=97, texttype=0))
buf_x32.add(gdstk.Label('N1_19', (0.928,-0.014), layer=97, texttype=0))
buf_x32.add(gdstk.Label('N1_18', (0.928,0), layer=97, texttype=0))
buf_x32.add(gdstk.Label('N1_21', (0.97,0), layer=97, texttype=0))
buf_x32.add(gdstk.Label('N1_24', (1.012,0), layer=97, texttype=0))
buf_x32.add(gdstk.Label('N1_35', (1.18,0.016), layer=97, texttype=0))
buf_x32.add(gdstk.Label('N1_38', (1.222,0.016), layer=97, texttype=0))
buf_x32.add(gdstk.Label('N1_39', (1.222,0), layer=97, texttype=0))
buf_x32.add(gdstk.Label('N1_30', (1.096,0), layer=97, texttype=0))
buf_x32.add(gdstk.Label('A_20', (0.508,0), layer=97, texttype=0))
buf_x32.add(gdstk.Label('A_23', (0.55,0), layer=97, texttype=0))
buf_x32.add(gdstk.Label('A_22', (0.55,0.015), layer=97, texttype=0))
buf_x32.add(gdstk.Label('A_16', (0.466,0.015), layer=97, texttype=0))
buf_x32.add(gdstk.Label('A_40', (0.802,0.016), layer=97, texttype=0))
buf_x32.add(gdstk.Label('A_43', (0.844,0.016), layer=97, texttype=0))
buf_x32.add(gdstk.Label('A_27', (0.592,-0.014), layer=97, texttype=0))
buf_x32.add(gdstk.Label('A_30', (0.634,-0.014), layer=97, texttype=0))
buf_x32.add(gdstk.Label('A_33', (0.676,-0.014), layer=97, texttype=0))
buf_x32.add(gdstk.Label('A_36', (0.718,-0.014), layer=97, texttype=0))
buf_x32.add(gdstk.Label('N1_17', (0.928,0.016), layer=97, texttype=0))
buf_x32.add(gdstk.Label('N1_58', (1.516,-0.014), layer=97, texttype=0))
buf_x32.add(gdstk.Label('N1_61', (1.558,-0.014), layer=97, texttype=0))
buf_x32.add(gdstk.Label('N1_102', (2.146,0), layer=97, texttype=0))
buf_x32.add(gdstk.Label('N1_93', (2.02,0), layer=97, texttype=0))
buf_x32.add(gdstk.Label('N1_64', (1.6,-0.014), layer=97, texttype=0))
buf_x32.add(gdstk.Label('N1_55', (1.474,-0.014), layer=97, texttype=0))
buf_x32.add(gdstk.Label('N1_52', (1.432,-0.014), layer=97, texttype=0))
buf_x32.add(gdstk.Label('N1_51', (1.432,0), layer=97, texttype=0))
buf_x32.add(gdstk.Label('N1_107', (2.23,0.016), layer=97, texttype=0))
buf_x32.add(gdstk.Label('N1_108', (2.23,0), layer=97, texttype=0))
buf_x32.add(gdstk.Label('N1_105', (2.188,0), layer=97, texttype=0))
buf_x32.add(gdstk.Label('N1_99', (2.104,0), layer=97, texttype=0))
buf_x32.add(gdstk.Label('N1_96', (2.062,0), layer=97, texttype=0))
buf_x32.add(gdstk.Label('N1_94', (2.02,-0.014), layer=97, texttype=0))
buf_x32.add(gdstk.Label('N1_90', (1.978,0), layer=97, texttype=0))
buf_x32.add(gdstk.Label('N1_87', (1.936,0), layer=97, texttype=0))
buf_x32.add(gdstk.Label('N1_84', (1.894,0), layer=97, texttype=0))
buf_x32.add(gdstk.Label('N1_81', (1.852,0), layer=97, texttype=0))
buf_x32.add(gdstk.Label('N1_78', (1.81,0), layer=97, texttype=0))
buf_x32.add(gdstk.Label('N1_75', (1.768,0), layer=97, texttype=0))
buf_x32.add(gdstk.Label('N1_72', (1.726,0), layer=97, texttype=0))
buf_x32.add(gdstk.Label('N1_69', (1.684,0), layer=97, texttype=0))
buf_x32.add(gdstk.Label('N1_70', (1.684,-0.014), layer=97, texttype=0))
buf_x32.add(gdstk.Label('N1_73', (1.726,-0.014), layer=97, texttype=0))
buf_x32.add(gdstk.Label('N1_76', (1.768,-0.014), layer=97, texttype=0))
buf_x32.add(gdstk.Label('N1_79', (1.81,-0.014), layer=97, texttype=0))
buf_x32.add(gdstk.Label('N1_82', (1.852,-0.014), layer=97, texttype=0))
buf_x32.add(gdstk.Label('N1_85', (1.894,-0.014), layer=97, texttype=0))
buf_x32.add(gdstk.Label('N1_88', (1.936,-0.014), layer=97, texttype=0))
buf_x32.add(gdstk.Label('N1_91', (1.978,-0.014), layer=97, texttype=0))
buf_x32.add(gdstk.Label('N1_50', (1.432,0.015), layer=97, texttype=0))
buf_x32.add(gdstk.Label('N1_47', (1.39,0.015), layer=97, texttype=0))
buf_x32.add(gdstk.Label('N1_48', (1.39,0), layer=97, texttype=0))
buf_x32.add(gdstk.Label('N1_49', (1.39,-0.013), layer=97, texttype=0))
buf_x32.add(gdstk.Label('N1_46', (1.348,-0.013), layer=97, texttype=0))
buf_x32.add(gdstk.Label('N1_45', (1.348,0), layer=97, texttype=0))
buf_x32.add(gdstk.Label('N1_44', (1.348,0.015), layer=97, texttype=0))
buf_x32.add(gdstk.Label('N1_109', (2.23,-0.014), layer=97, texttype=0))
buf_x32.add(gdstk.Label('N1_106', (2.188,-0.014), layer=97, texttype=0))
buf_x32.add(gdstk.Label('N1_103', (2.146,-0.014), layer=97, texttype=0))
buf_x32.add(gdstk.Label('N1_100', (2.104,-0.014), layer=97, texttype=0))
buf_x32.add(gdstk.Label('N1_97', (2.062,-0.014), layer=97, texttype=0))
buf_x32.add(gdstk.Label('N1_53', (1.474,0.015), layer=97, texttype=0))
buf_x32.add(gdstk.Label('N1_56', (1.516,0.015), layer=97, texttype=0))
buf_x32.add(gdstk.Label('N1_59', (1.558,0.015), layer=97, texttype=0))
buf_x32.add(gdstk.Label('N1_62', (1.6,0.015), layer=97, texttype=0))
buf_x32.add(gdstk.Label('N1_65', (1.642,0.015), layer=97, texttype=0))
buf_x32.add(gdstk.Label('N1_66', (1.642,0), layer=97, texttype=0))
buf_x32.add(gdstk.Label('N1_63', (1.6,0), layer=97, texttype=0))
buf_x32.add(gdstk.Label('N1_60', (1.558,0), layer=97, texttype=0))
buf_x32.add(gdstk.Label('N1_57', (1.516,0), layer=97, texttype=0))
buf_x32.add(gdstk.Label('N1_54', (1.474,0), layer=97, texttype=0))
buf_x32.add(gdstk.Label('N1_89', (1.978,0.016), layer=97, texttype=0))
buf_x32.add(gdstk.Label('N1_104', (2.188,0.016), layer=97, texttype=0))
buf_x32.add(gdstk.Label('N1_101', (2.146,0.016), layer=97, texttype=0))
buf_x32.add(gdstk.Label('N1_98', (2.104,0.016), layer=97, texttype=0))
buf_x32.add(gdstk.Label('N1_95', (2.062,0.016), layer=97, texttype=0))
buf_x32.add(gdstk.Label('N1_92', (2.02,0.016), layer=97, texttype=0))
buf_x32.add(gdstk.Label('N1_86', (1.936,0.016), layer=97, texttype=0))
buf_x32.add(gdstk.Label('N1_83', (1.894,0.016), layer=97, texttype=0))
buf_x32.add(gdstk.Label('N1_80', (1.852,0.016), layer=97, texttype=0))
buf_x32.add(gdstk.Label('N1_77', (1.81,0.016), layer=97, texttype=0))
buf_x32.add(gdstk.Label('N1_74', (1.768,0.016), layer=97, texttype=0))
buf_x32.add(gdstk.Label('N1_71', (1.726,0.016), layer=97, texttype=0))
buf_x32.add(gdstk.Label('N1_68', (1.684,0.016), layer=97, texttype=0))
buf_x32.add(gdstk.Label('N1_67', (1.642,-0.014), layer=97, texttype=0))

lib.write_gds('BUF_X32.gds')
